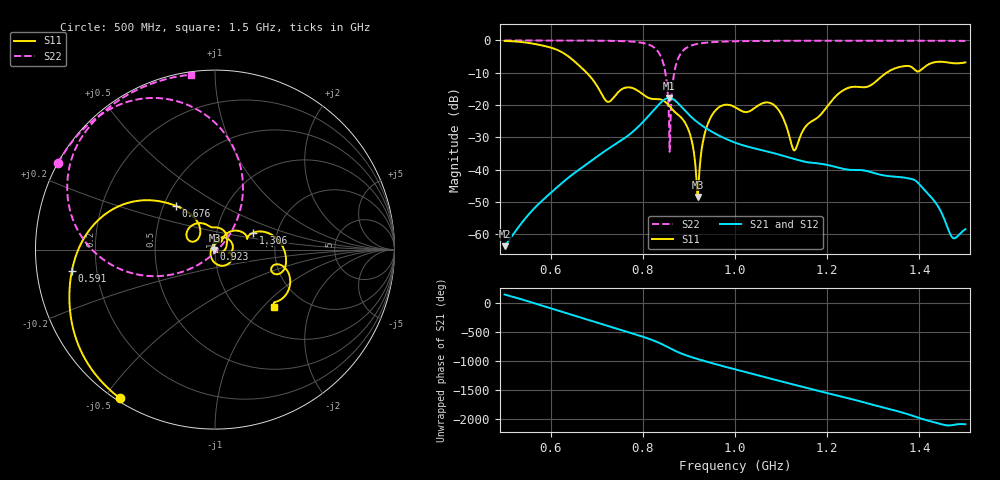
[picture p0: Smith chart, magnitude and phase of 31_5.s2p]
! TOUCHSTONE file generated by CST MICROWAVE STUDIO
! Date and time: Fri Oct  2 19:15:29 2020
! Project name: Scenario_1_Free_Space_out_of_line.cst
! Parameters = {Lambda=346.42; Step_1=17.321; dy1=-172.59; dx1=866; L_HA=400; MT=2.54; Rad_Dielectric=30; Rad_Lower=7.3; Rad_Upper=30; a_HA=580; a_WG=246; b_HA=500; b_WG=121; c_HA=0; c_WG=187; d_feed=85; h_feed=15; h_lower=18; h_upper=40}
! Header version: 2018
! Port assignment regex: !\s*Touchstone port\s*([0-9]+)\s*=\s*(CST MWS port|CST DS port)\s*([0-9]+|Zmin|Zmax)\s*\(\"(.*)\"\)(\s*mode\s*([0-9]+))?.*
! Touchstone port assignment:
! Touchstone port 1 = CST MWS port 1 ("")
! Touchstone port 2 = CST MWS port 2 ("")
# GHz S DB R 50
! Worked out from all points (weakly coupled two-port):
!   1003 points, 500 MHz to 1.5 GHz, reference 50 ohm
!   highest |S21| = -17.78 dB at 857 MHz (marker M1); lowest = -63.7 dB at 500 MHz (marker M2)
!   lowest |S11| = -48.4 dB at 919 MHz (marker M3), VSWR 1.01, Z = 49.7 - j0.224 ohm
!   |S11| at or under -10 dB: 678 MHz to 1.329 GHz (650.9 MHz wide, 64.9 % of centre)
!   |S22| runs from -34.5 to 0.0 dB; largest |S21 - S12| = 1.3e-05
!   S11 on the Smith chart (normalised r, x): 500 MHz: 0.01, -0.55; 591 MHz: 0.11, -0.07; 676 MHz: 0.58, +0.32; 923 MHz: 0.98, +0.01; 1.306 GHz: 1.50, +0.30; 1.5 GHz: 1.44, -1.15
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0.5  -0.15 -122.6  -63.70 141.3  -63.70 141.3  -0.01 151.1
0.591  -1.87 -171.5  -48.36 -73.3  -48.36 -73.3  -0.02 144.8
0.667  -8.47 136.1  -39.46 102.0  -39.46 102.0  -0.04 138.3
0.676  -9.71 131.8  -38.55 80.3  -38.55 80.3  -0.05 137.4
0.723  -18.97 141.8  -33.74 -34.0  -33.74 -34.0  -0.11 131.8
0.834  -18.16 83.2  -19.97 37.1  -19.97 37.1  -3.64 85.9
0.848  -18.93 60.9  -18.20 -14.9  -18.20 -14.9  -9.27 63.3
0.857  -20.21 46.4  -17.78 -51.8  -17.78 -51.8  -25.82 34.6
0.877  -23.07 21.7  -19.55 -129.3  -19.55 -129.3  -5.45 -168.0
0.902  -28.90 -25.2  -23.28 156.7  -23.28 156.7  -1.74 167.0
0.919  -48.45 -143.4  -25.37 114.7  -25.37 114.7  -1.05 158.3
0.923  -39.99 141.7  -25.81 105.2  -25.81 105.2  -0.95 156.8
0.948  -23.66 74.1  -28.12 48.5  -28.12 48.5  -0.56 149.4
1  -20.67 -6.5  -31.64 -61.9  -31.64 -61.9  -0.26 140.2
1.083  -19.85 -61.7  -34.85 126.7  -34.85 126.7  -0.13 131.2
1.129  -34.05 152.6  -36.72 33.1  -36.72 33.1  -0.11 127.2
1.167  -25.00 52.5  -37.87 -42.6  -37.87 -42.6  -0.09 124.1
1.306  -12.68 23.9  -41.22 35.2  -41.22 35.2  -0.09 113.5
1.334  -9.54 13.4  -42.02 -21.0  -42.02 -21.0  -0.09 111.4
1.396  -9.62 -18.6  -43.92 -168.1  -43.92 -168.1  -0.10 106.6
1.473  -7.04 -41.0  -61.16 62.9  -61.08 62.8  -0.13 100.2
1.5  -6.79 -43.9  -58.44 75.5  -58.35 75.5  -0.14 97.8
